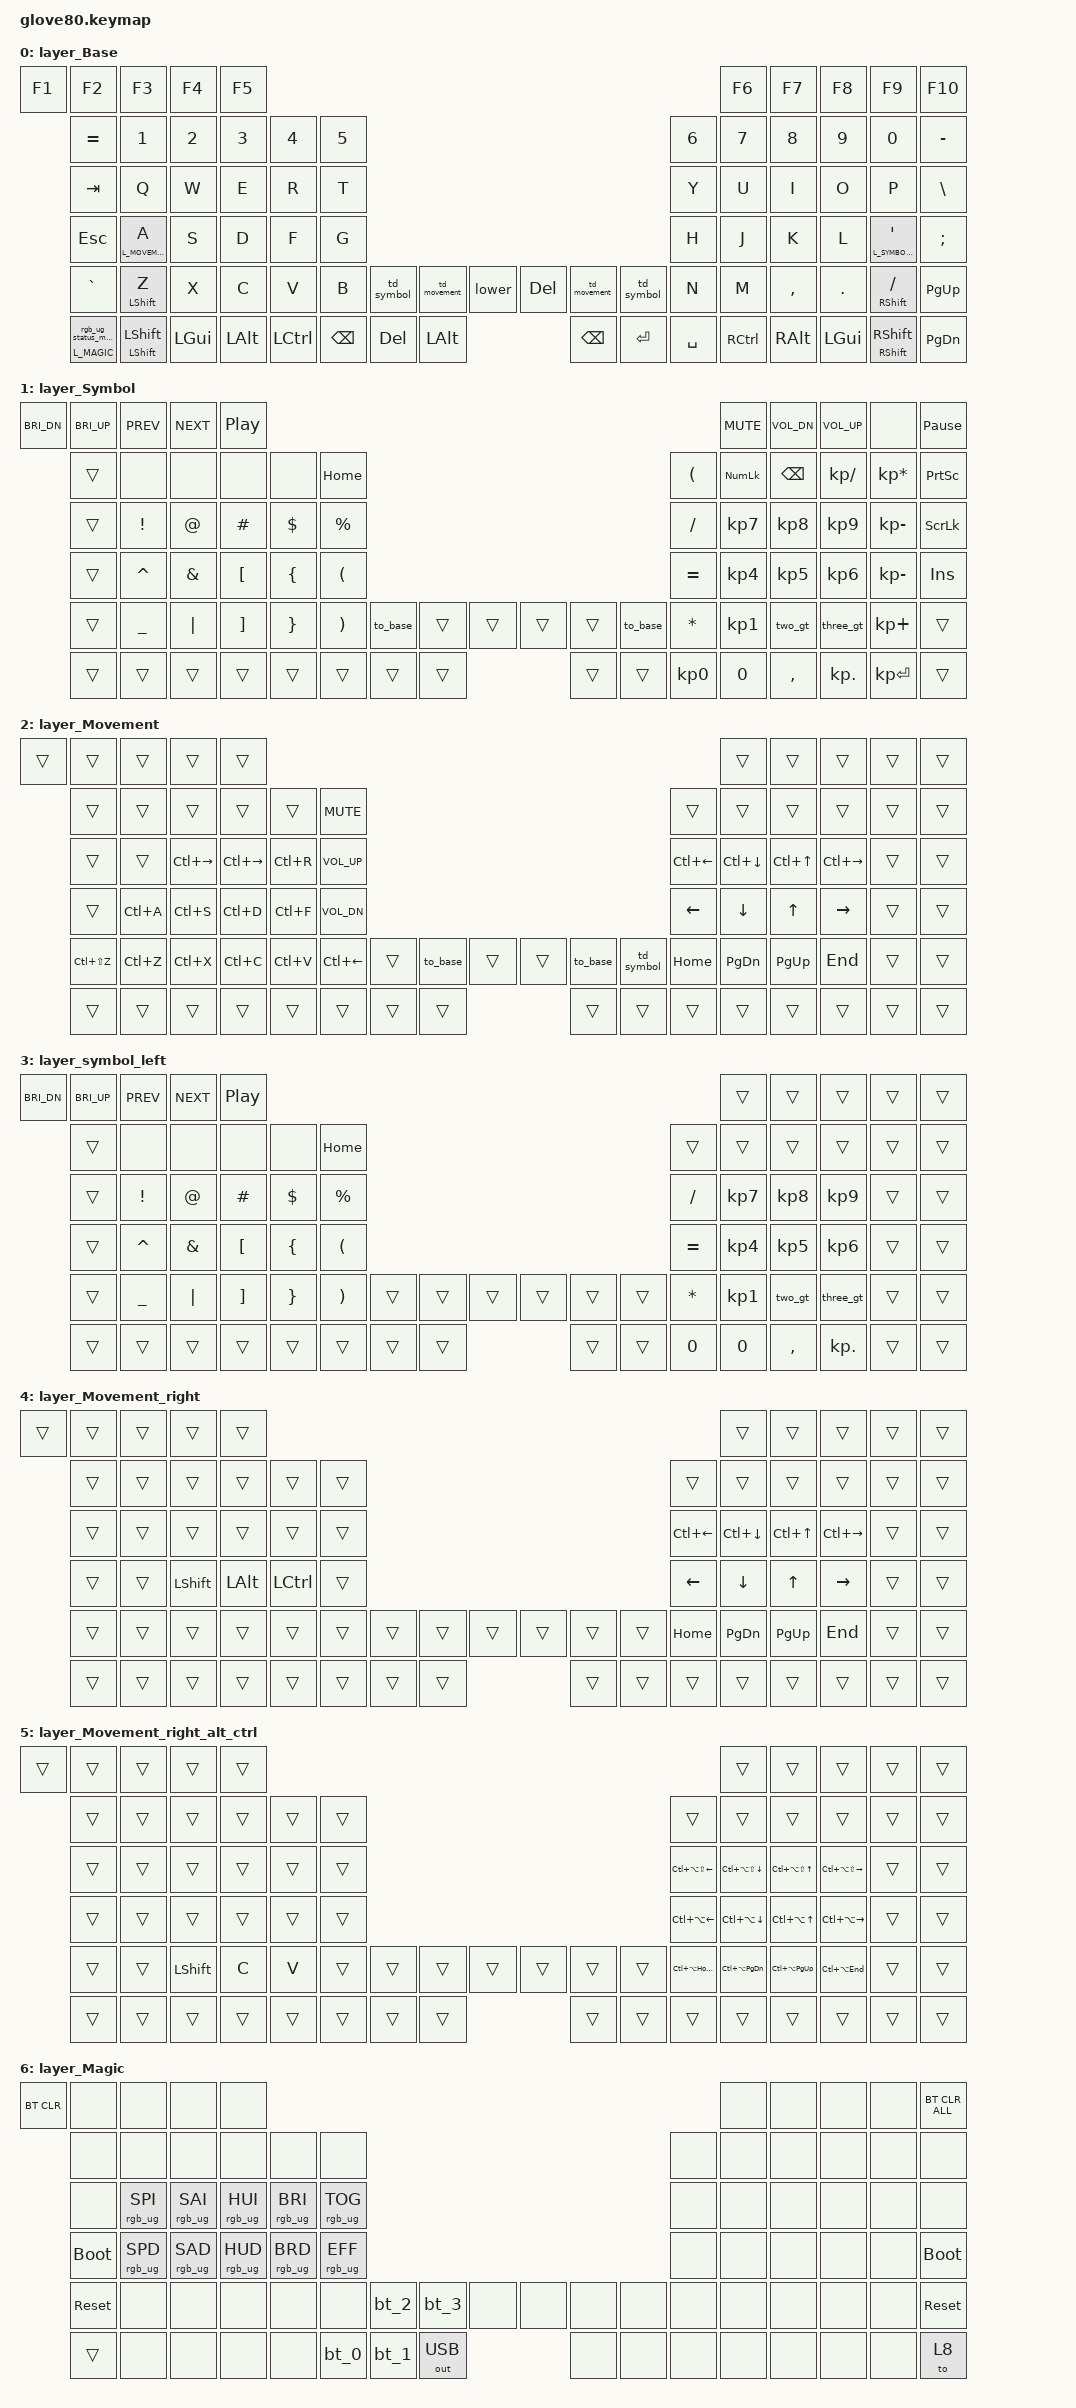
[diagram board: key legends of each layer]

/*
 * Copyright (c) 2020 The ZMK Contributors
 * Copyright (c) 2022 Innaworks Development Limited, trading as MoErgo
 *
 * SPDX-License-Identifier: MIT
 */


/* Include all behaviour includes needed by system behaviors/macros */
#include <behaviors.dtsi>
#include <dt-bindings/zmk/outputs.h>
#include <dt-bindings/zmk/keys.h>
#include <dt-bindings/zmk/bt.h>
#include <dt-bindings/zmk/rgb.h>

/ {
    /* Glove80 system behavior & macros */
    behaviors {
        // For the "layer" key, it'd nice to be able to use it as either a shift or a toggle.
        // Configure it as a tap dance, so the first tap (or hold) is a &mo and the second tap is a &to
        lower: tap_dance_0 {
            compatible = "zmk,behavior-tap-dance";
            #binding-cells = <0>;
            tapping-term-ms = <200>;
            bindings = <&mo 1>, <&to 1>;
        };
    };

    macros {
        rgb_ug_status_macro: rgb_ug_status_macro_0 {
            compatible = "zmk,behavior-macro";
            #binding-cells = <0>;
            bindings
                = <&rgb_ug RGB_STATUS>;
        };

        bt_0: bt_profile_macro_0 {
            compatible = "zmk,behavior-macro";
            #binding-cells = <0>;
            bindings
                = <&out OUT_BLE>,
                  <&bt BT_SEL 0>;
        };

        bt_1: bt_profile_macro_1 {
            compatible = "zmk,behavior-macro";
            #binding-cells = <0>;
            bindings
                = <&out OUT_BLE>,
                  <&bt BT_SEL 1>;
        };

        bt_2: bt_profile_macro_2 {
            compatible = "zmk,behavior-macro";
            #binding-cells = <0>;
            bindings
                = <&out OUT_BLE>,
                  <&bt BT_SEL 2>;
        };

        bt_3: bt_profile_macro_3 {
            compatible = "zmk,behavior-macro";
            #binding-cells = <0>;
            bindings
                = <&out OUT_BLE>,
                  <&bt BT_SEL 3>;
        };
    };
};

/ {
    magic: magic_hold_tap {
        compatible = "zmk,behavior-hold-tap";
        #binding-cells = <2>;
        flavor = "tap-preferred";
        tapping-term-ms = <200>;
        bindings = <&mo>, <&rgb_ug_status_macro>;
    };

};

/* Custom Defined Behaviors */
/ {
    /* lsyers */
    #define L_BASE 0
    #define L_SYMBOL 1
    #define L_MOVEMENT 2
    #define L_SYMBOL_LEFT 3
    #define L_MOVEMENT_RIGHT 4
    #define L_MOVEMENT_RIGHT_ALT_CTRL 5
    #define L_MAGIC 6


/*****************************************************************************/
                                /* Macros */
/*****************************************************************************/
    macros {
        // unstickies a sticky key and then holds it
        // parameter 1: key code
        unsk: unsticky_key {
            compatible = "zmk,behavior-macro-one-param";
            #binding-cells = <1>;
            wait-ms = <0>;
            tap-ms = <30>;
            bindings
                = <&macro_tap &kp K_CANCEL>
                , <&macro_press>
                , <&macro_param_1to1>
                , <&kp MACRO_PLACEHOLDER>
                , <&macro_pause_for_release>
                , <&macro_release>
                , <&macro_param_1to1>
                , <&kp MACRO_PLACEHOLDER>
                ;
        };
        left_arrow: left_arrow {
            compatible = "zmk,behavior-macro-one-param";
            #binding-cells = <1>;
            wait-ms = <0>;
            tap-ms = <30>;
            bindings
                = <&macro_tap &kp LESS_THAN>
                , <&macro_param_1to1>
                , <&macro_tap &kp MACRO_PLACEHOLDER>
                ;
        };
        right_arrow: right_arrow {
            compatible = "zmk,behavior-macro-one-param";
            #binding-cells = <1>;
            wait-ms = <0>;
            tap-ms = <30>;
            bindings
                = <&macro_param_1to1>
                , <&macro_tap &kp MACRO_PLACEHOLDER>
                , <&macro_tap &kp GREATER_THAN>
                ;
        };
        to_symbol: to_symbol {
            compatible = "zmk,behavior-macro";
            #binding-cells = <0>;
            wait-ms = <0>;
            tap-ms = <30>;
            bindings = <&macro_tap &to L_SYMBOL>;
        };
        to_movement: to_movement {
            compatible = "zmk,behavior-macro";
            #binding-cells = <0>;
            wait-ms = <0>;
            tap-ms = <30>;
            bindings = <&macro_tap &to L_MOVEMENT>;
        };
        to_base: to_base {
            compatible = "zmk,behavior-macro";
            #binding-cells = <0>;
            wait-ms = <0>;
            tap-ms = <30>;
            bindings = <&macro_tap &to L_BASE>;
        };

    };
/*****************************************************************************/
                                /* Behaviors */
/*****************************************************************************/
    // #define trick to convert plain word to string
    #define STRINGIFY(S) #S

    // generates a tap-dance behavior
    #define TAP_DANCE(NAME, TERM, BINDING0, BINDING2) \
    /omit-if-no-ref/ NAME: NAME { \
        compatible = "zmk,behavior-tap-dance"; \
        label = STRINGIFY(TD_##NAME); \
        #binding-cells = <0>; \
        tapping-term-ms = <TERM>; \
        bindings = <BINDING0>, <BINDING2>; \
    }

    behaviors {
        // activate other layers
        TAP_DANCE(td_symbol, 200, &mo L_SYMBOL, &to_symbol);
        TAP_DANCE(td_movement, 200, &mo L_MOVEMENT, &to_movement);

        /* Let Caps Word continue when typing underscores */
        behavior_caps_word {
            continue-list = <UNDERSCORE MINUS BACKSPACE DELETE>;
        };

        // custom sticky key behavior
        /omit-if-no-ref/ skp: sticky_keypress {
            compatible = "zmk,behavior-sticky-key";
            #binding-cells = <1>;
            release-after-ms = <1000>;
            quick-release;
            bindings = <&kp>;
        };

        shift: shift {
            compatible = "zmk,behavior-hold-tap";
            #binding-cells = <2>;
            flavor = "hold-preferred";
            tapping-term-ms = <200>;
            global-quick-tap;
            bindings = <&kp>, <&caps_word>;
        };

        // shifting Numberic Keypad "2" gives "<"
        two_gt: two_gt {
            compatible = "zmk,behavior-mod-morph";
            #binding-cells = <0>;
            bindings = <&kp KP_N2>, <&kp LESS_THAN>;
            mods = <(MOD_LSFT|MOD_RSFT)>;
        };

        // shifting Numberic Keypad "3" gives ">"
        three_gt: three_gt {
            compatible = "zmk,behavior-mod-morph";
            #binding-cells = <0>;
            bindings = <&kp KP_N3>, <&kp GREATER_THAN>;
            mods = <(MOD_LSFT|MOD_RSFT)>;
        };
    };

/*****************************************************************************/
                                /* Key Positions */
/*****************************************************************************/
/* Use these key positions for Hold Tap hold-trigger-key-positions and Combos
          .----.----.----.                                                  .----.----.----.
.----.----|  2 |  3 |  4 |                                                  |  5 |  6 |  7 |----.----.
|  0 |  1 |----+----+----+----.                                        .----+----+----+----|  8 |  9 |
|----|----| 12 | 13 | 14 | 15 |                                        | 16 | 17 | 18 | 19 |----|----|
| 10 | 11 |----+----+----+----|                                        |----+----+----+----| 20 | 21 |
|----|----| 24 | 25 | 26 | 27 |                                        | 28 | 29 | 30 | 31 |----|----|
| 22 | 23 |----+----+----+----|                                        |----+----+----+----| 32 | 33 |
|----|----| 36 | 37 | 38 | 39 |                                        | 40 | 41 | 42 | 43 |----|----|
| 34 | 35 |----+----+----+----|                                        |----+----+----+----| 44 | 45 |
|----|----| 48 | 49 | 50 | 51 |                                        | 58 | 59 | 60 | 61 |----|----|
| 46 | 47 |----+----+----+----'                                        '----+----+----+----| 62 | 63 |
|----|----| 66 | 67 | 68 |       .----.                        .----.       | 75 | 76 | 77 |----|----|
| 64 | 65 |----'----'----'  .----| 52 |----.              .----| 57 |----.  '----'----'----| 78 | 79 |
'----'----'                 | 69 |----| 53 |----.    .----| 56 |----| 74 |                 '----'----'
                            '----| 70 |----| 54 |    | 55 |----| 73 |----'
                                 '----| 71 |----'    '----| 72 |----'
                                      '----'              '----'
*/

/*****************************************************************************/
                                /* Combos */
/*****************************************************************************/
    combos {
        compatible = "zmk,combos";

        // <- on num layer
        combo_left_arrow {
            timeout-ms = <65>;
            key-positions = <60 44>;
            layers = <L_SYMBOL>;
            bindings = <&left_arrow KP_MINUS>;
        };

        // -> on num layer
        combo_right_arrow {
            timeout-ms = <65>;
            key-positions = <61 44>;
            layers = <L_SYMBOL>;
            bindings = <&right_arrow KP_MINUS>;
        }; 
        
        // <= on num layer
        combo_double_left_arrow {
            timeout-ms = <65>;
            key-positions = <60 40>;
            layers = <L_SYMBOL>;
            bindings = <&left_arrow EQUAL>;
        };

        // => on num layer
        combo_double_right_arrow {
            timeout-ms = <65>;
            key-positions = <61 40>;
            layers = <L_SYMBOL>;
            bindings = <&right_arrow EQUAL>;
        };
   
        // use chord DF as a modifier move to movement_right layer
        //combo_df_modal_movement {
        //    timeout-ms = <65>;
        //    key-positions = <37 38>;
        //    bindings = <&mo L_MOVEMENT_RIGHT>;
        //    layers = <L_BASE>;
        //};

        // use chord CV as a modifier move to movement_right layer
        //combo_cv_modal_movement {
        //    timeout-ms = <65>;
        //    key-positions = <49 50>;
        //    bindings = <&mo L_MOVEMENT_RIGHT_ALT_CTRL>;
        //    layers = <L_BASE>;
        //};

        // use chord JK as a modifier move to symbol_left layer
        //combo_jk_modal_movement {
        //    timeout-ms = <65>;
        //    key-positions = <41 42>;
        //    bindings = <&mo L_SYMBOL_LEFT>;
        //    layers = <L_BASE>;
        //};
   };

/*****************************************************************************/
                            /* Condiional Layers */
/*****************************************************************************/ 

/* Helper for defining conditional layers */
#define LAYER_CONDITION(NAME, IF, THEN) \
        NAME { \
            if-layers = <IF>; \
            then-layer = <THEN>; \
        };

    conditional_layers {
        compatible = "zmk,conditional-layers";
    };
 };

// ==== PER-KEY-RGB <section begins> ====
#include <dt-bindings/zmk/rgb_colors.h>
#define C_SHIFT ORANGE
#define C_SYM BLUE
#define C_MOV GREEN
#define ______ 0x000000
/ {
    underglow-layer {
        compatible  = "zmk,underglow-layer";
        base {
            bindings = <
                &ug ___                  &ug ___ &ug ___ &ug ___ &ug ___                                                                  &ug ___ &ug ___ &ug ___          &ug ___ &ug ___
                &ug ___                  &ug ___ &ug ___ &ug ___ &ug ___ &ug ___                                                  &ug ___ &ug ___ &ug ___ &ug ___          &ug ___ &ug ___
                &ug ___                  &ug ___ &ug ___ &ug ___ &ug ___ &ug ___                                                  &ug ___ &ug ___ &ug ___ &ug ___          &ug ___ &ug ___
                &ug ___                  &ug ___ &ug ___ &ug ___ &ug ___ &ug ___                                                  &ug ___ &ug ___ &ug ___ &ug ___          &ug ___ &ug ___
                &ug ___                  &ug ___ &ug ___ &ug ___ &ug ___ &ug ___ &ug ___ &ug ___ &ug ___  &ug ___ &ug ___ &ug ___ &ug ___ &ug ___ &ug ___ &ug ___          &ug ___ &ug ___
                &ug ___ &ug_cl ___ C_SHIFT &ug ___ &ug ___ &ug ___         &ug ___ &ug ___ &ug ___  &ug ___ &ug ___ &ug ___         &ug ___ &ug ___ &ug ___ &ug_cl ___ C_SHIFT &ug ___
                >;
            layer-id = <0>;
        };
        symbol {
            bindings = <
                &ug ___ &ug ___ &ug ___ &ug ___ &ug C_SYM                                                                      &ug C_SYM        &ug ___ &ug ___ &ug ___ &ug ___
                &ug ___ &ug ___ &ug ___ &ug ___ &ug ___   &ug ___                                                      &ug ___ &ug_nl ___ C_SYM &ug ___ &ug ___ &ug ___ &ug ___
                &ug ___ &ug ___ &ug ___ &ug ___ &ug ___   &ug ___                                                      &ug ___ &ug ___          &ug ___ &ug ___ &ug ___ &ug ___
                &ug ___ &ug ___ &ug ___ &ug ___ &ug ___   &ug ___                                                      &ug ___ &ug ___          &ug ___ &ug ___ &ug ___ &ug ___
                &ug ___ &ug ___ &ug ___ &ug ___ &ug ___   &ug ___ &ug C_SYM &ug ___ &ug ___  &ug ___ &ug ___ &ug C_SYM &ug ___ &ug ___          &ug ___ &ug ___ &ug ___ &ug ___
                &ug ___ &ug ___ &ug ___ &ug ___ &ug ___           &ug ___   &ug ___ &ug ___  &ug ___ &ug ___ &ug ___           &ug ___          &ug ___ &ug ___ &ug ___ &ug ___
                >;
            layer-id = <L_SYMBOL>;
        };
        movement {
            bindings = <
                &ug ___ &ug ___ &ug ___ &ug ___ &ug C_MOV                                                                      &ug C_MOV &ug ___ &ug ___ &ug ___ &ug ___
                &ug ___ &ug ___ &ug ___ &ug ___ &ug ___   &ug ___                                                      &ug ___ &ug ___   &ug ___ &ug ___ &ug ___ &ug ___
                &ug ___ &ug ___ &ug ___ &ug ___ &ug ___   &ug ___                                                      &ug ___ &ug ___   &ug ___ &ug ___ &ug ___ &ug ___
                &ug ___ &ug ___ &ug ___ &ug ___ &ug ___   &ug ___                                                      &ug ___ &ug ___   &ug ___ &ug ___ &ug ___ &ug ___
                &ug ___ &ug ___ &ug ___ &ug ___ &ug ___   &ug ___ &ug ___ &ug C_MOV &ug ___  &ug ___ &ug C_MOV &ug ___ &ug ___ &ug ___   &ug ___ &ug ___ &ug ___ &ug ___
                &ug ___ &ug ___ &ug ___ &ug ___ &ug ___           &ug ___ &ug ___   &ug ___  &ug ___ &ug ___   &ug ___         &ug ___   &ug ___ &ug ___ &ug ___ &ug ___
                >;
            layer-id = <L_MOVEMENT>;
        };
        symbol_left {
            bindings = <
                &ug ___ &ug ___ &ug ___ &ug ___ &ug C_SYM                                                                      &ug ___   &ug ___ &ug ___ &ug ___ &ug ___
                &ug ___ &ug ___ &ug ___ &ug ___ &ug ___   &ug ___                                                      &ug ___ &ug ___   &ug ___ &ug ___ &ug ___ &ug ___
                &ug ___ &ug ___ &ug ___ &ug ___ &ug ___   &ug ___                                                      &ug ___ &ug ___   &ug ___ &ug ___ &ug ___ &ug ___
                &ug ___ &ug ___ &ug ___ &ug ___ &ug ___   &ug ___                                                      &ug ___ &ug ___   &ug ___ &ug ___ &ug ___ &ug ___
                &ug ___ &ug ___ &ug ___ &ug ___ &ug ___   &ug ___ &ug C_SYM &ug ___ &ug ___  &ug ___ &ug ___ &ug ___   &ug ___ &ug ___   &ug ___ &ug ___ &ug ___ &ug ___
                &ug ___ &ug ___ &ug ___ &ug ___ &ug ___           &ug ___   &ug ___ &ug ___  &ug ___ &ug ___ &ug ___           &ug ___   &ug ___ &ug ___ &ug ___ &ug ___
                >;
            layer-id = <L_SYMBOL_LEFT>;
        };
        movement_right {
            bindings = <
                &ug ___ &ug ___ &ug ___ &ug ___ &ug ___                                                                        &ug C_MOV &ug ___ &ug ___ &ug ___ &ug ___
                &ug ___ &ug ___ &ug ___ &ug ___ &ug ___   &ug ___                                                      &ug ___ &ug ___   &ug ___ &ug ___ &ug ___ &ug ___
                &ug ___ &ug ___ &ug ___ &ug ___ &ug ___   &ug ___                                                      &ug ___ &ug ___   &ug ___ &ug ___ &ug ___ &ug ___
                &ug ___ &ug ___ &ug ___ &ug ___ &ug ___   &ug ___                                                      &ug ___ &ug ___   &ug ___ &ug ___ &ug ___ &ug ___
                &ug ___ &ug ___ &ug ___ &ug ___ &ug ___   &ug ___ &ug ___   &ug ___ &ug ___  &ug ___ &ug ___ &ug C_MOV &ug ___ &ug ___   &ug ___ &ug ___ &ug ___ &ug ___
                &ug ___ &ug ___ &ug ___ &ug ___ &ug ___           &ug ___   &ug ___ &ug ___  &ug ___ &ug ___ &ug ___           &ug ___   &ug ___ &ug ___ &ug ___ &ug ___
                >;
            layer-id = <L_MOVEMENT_RIGHT>;
        };
        // add more RGB layer here
    };
};
// ==== PER-KEY-RGB <section ends> =====


/ {
    /* Automatically generated keymap */
    keymap {
        compatible = "zmk,keymap";

        layer_Base {
            bindings = <
           &kp F1                 &kp F2    &kp F3    &kp F4     &kp F5                                                                                               &kp F6     &kp F7    &kp F8                  &kp F9    &kp F10
        &kp EQUAL                 &kp N1    &kp N2    &kp N3     &kp N4  &kp N5                                                                            &kp N6     &kp N7     &kp N8    &kp N9                  &kp N0  &kp MINUS
          &kp TAB                  &kp Q     &kp W     &kp E      &kp R   &kp T                                                                             &kp Y      &kp U      &kp I     &kp O                   &kp P   &kp BSLH
          &kp ESC &lt L_MOVEMENT_RIGHT A     &kp S     &kp D      &kp F   &kp G                                                                             &kp H      &kp J      &kp K     &kp L   &lt L_SYMBOL_LEFT SQT   &kp SEMI
        &kp GRAVE           &mt LSHIFT Z     &kp X     &kp C      &kp V   &kp B    &td_symbol  &td_movement    &lower   &kp DEL  &td_movement  &td_symbol   &kp N      &kp M  &kp COMMA   &kp DOT         &mt RSHIFT FSLH  &kp PG_UP
 &magic L_MAGIC 0   &shift LSHIFT LSHIFT  &kp LGUI  &kp LALT  &kp LCTRL            &kp BSPC         &kp DEL  &kp LALT  &kp BSPC       &kp RET   &kp SPACE          &kp RCTRL   &kp RALT  &kp LGUI    &shift RSHIFT RSHIFT  &kp PG_DN
            >;
        };

        layer_Symbol {
            bindings = <
 &kp C_BRI_DN  &kp C_BRI_UP  &kp C_PREV  &kp C_NEXT  &kp C_PP                                                                                        &kp C_MUTE  &kp C_VOL_DN  &kp C_VOL_UP            &none  &kp PAUSE_BREAK
       &trans         &none       &none       &none     &none   &kp HOME                                                       &kp LEFT_PARENTHESIS  &kp KP_NUM      &kp BSPC  &kp KP_SLASH  &kp KP_MULTIPLY  &kp PRINTSCREEN
       &trans      &kp EXCL      &kp AT    &kp HASH  &kp DLLR  &kp PRCNT                                                                   &kp FSLH   &kp KP_N7     &kp KP_N8     &kp KP_N9     &kp KP_MINUS   &kp SCROLLLOCK
       &trans     &kp CARET    &kp AMPS    &kp LBKT  &kp LBRC   &kp LPAR                                                                  &kp EQUAL   &kp KP_N4     &kp KP_N5     &kp KP_N6     &kp KP_MINUS          &kp INS
       &trans     &kp UNDER    &kp PIPE    &kp RBKT  &kp RBRC   &kp RPAR  &to_base  &trans  &trans  &trans  &trans   &to_base              &kp STAR   &kp KP_N1       &two_gt     &three_gt      &kp KP_PLUS           &trans
       &trans        &trans      &trans      &trans    &trans             &trans    &trans  &trans  &trans  &trans  &kp KP_N0                            &kp N0     &kp COMMA    &kp KP_DOT     &kp KP_ENTER           &trans
            >;
        };

        layer_Movement {
            bindings = <
        &trans     &trans         &trans         &trans     &trans                                                                                             &trans      &trans         &trans  &trans  &trans
        &trans     &trans         &trans         &trans     &trans    &kp C_MUTE                                                                 &trans        &trans      &trans         &trans  &trans  &trans
        &trans     &trans  &kp LC(RIGHT)  &kp LC(RIGHT)  &kp LC(R)  &kp C_VOL_UP                                                           &kp LC(LEFT)  &kp LC(DOWN)  &kp LC(UP)  &kp LC(RIGHT)  &trans  &trans
        &trans  &kp LC(A)      &kp LC(S)      &kp LC(D)  &kp LC(F)  &kp C_VOL_DN                                                               &kp LEFT      &kp DOWN      &kp UP      &kp RIGHT  &trans  &trans
 &kp LC(LS(Z))  &kp LC(Z)      &kp LC(X)      &kp LC(C)  &kp LC(V)  &kp LC(LEFT)   &trans  &to_base  &trans  &trans  &to_base  &td_symbol      &kp HOME     &kp PG_DN   &kp PG_UP        &kp END  &trans  &trans
        &trans     &trans         &trans         &trans     &trans                 &trans    &trans  &trans  &trans    &trans      &trans                      &trans      &trans         &trans  &trans  &trans
            >;
        };

        layer_symbol_left {
            bindings = <
 &kp C_BRI_DN  &kp C_BRI_UP  &kp C_PREV  &kp C_NEXT  &kp C_PP                                                                      &trans    &trans        &trans     &trans  &trans
       &trans         &none       &none       &none     &none   &kp HOME                                                 &trans    &trans    &trans        &trans     &trans  &trans
       &trans      &kp EXCL      &kp AT    &kp HASH  &kp DLLR  &kp PRCNT                                                 &kp FSLH  &kp KP_N7 &kp KP_N8     &kp KP_N9  &trans  &trans
       &trans     &kp CARET    &kp AMPS    &kp LBKT  &kp LBRC   &kp LPAR                                                 &kp EQUAL &kp KP_N4 &kp KP_N5     &kp KP_N6  &trans  &trans
       &trans     &kp UNDER    &kp PIPE    &kp RBKT  &kp RBRC   &kp RPAR  &trans  &trans  &trans &trans  &trans  &trans  &kp STAR  &kp KP_N1   &two_gt     &three_gt  &trans  &trans
       &trans        &trans      &trans      &trans    &trans             &trans  &trans  &trans &trans  &trans  &kp N0            &kp N0    &kp COMMA     &kp KP_DOT &trans  &trans
            >;
        };

        layer_Movement_right {
            bindings = <
       &trans  &trans          &trans    &trans     &trans                                                                                 &trans      &trans         &trans  &trans  &trans
       &trans  &trans          &trans    &trans     &trans  &trans                                                           &trans        &trans      &trans         &trans  &trans  &trans
       &trans  &trans          &trans    &trans     &trans  &trans                                                     &kp LC(LEFT)  &kp LC(DOWN)  &kp LC(UP)  &kp LC(RIGHT)  &trans  &trans
       &trans  &trans  &kp LEFT_SHIFT  &kp LALT  &kp LCTRL  &trans                                                         &kp LEFT      &kp DOWN      &kp UP      &kp RIGHT  &trans  &trans
       &trans  &trans          &trans    &trans     &trans  &trans   &trans  &trans  &trans  &trans  &trans  &trans        &kp HOME     &kp PG_DN   &kp PG_UP        &kp END  &trans  &trans
       &trans  &trans          &trans    &trans     &trans           &trans  &trans  &trans  &trans  &trans  &trans                        &trans      &trans         &trans  &trans  &trans
            >;
        };

        layer_Movement_right_alt_ctrl {
            bindings = <
       &trans  &trans          &trans  &trans  &trans                                                                                 &trans      &trans         &trans  &trans  &trans
       &trans  &trans          &trans  &trans  &trans  &trans                                                           &trans        &trans      &trans         &trans  &trans  &trans
       &trans  &trans          &trans  &trans  &trans  &trans                                                     &kp LC(LA(LS(LEFT)))  &kp LC(LA(LS(DOWN)))  &kp LC(LA(LS(UP)))  &kp LC(LA(LS(RIGHT)))  &trans  &trans
       &trans  &trans          &trans  &trans  &trans  &trans                                                         &kp LC(LA(LEFT))      &kp LC(LA(DOWN))      &kp LC(LA(UP))      &kp LC(LA(RIGHT))  &trans  &trans
       &trans  &trans  &kp LEFT_SHIFT   &kp C   &kp V  &trans   &trans  &trans  &trans  &trans  &trans  &trans        &kp LC(LA(HOME))     &kp LC(LA(PG_DN))   &kp LC(LA(PG_UP))        &kp LC(LA(END))  &trans  &trans
       &trans  &trans          &trans  &trans  &trans           &trans  &trans  &trans  &trans  &trans  &trans                        &trans      &trans         &trans  &trans  &trans
            >;
        };

        layer_Magic {
            bindings = <
  &bt BT_CLR            &none            &none            &none            &none                                                                                  &none   &none   &none   &none  &bt BT_CLR_ALL
       &none            &none            &none            &none            &none            &none                                                         &none   &none   &none   &none   &none           &none
       &none  &rgb_ug RGB_SPI  &rgb_ug RGB_SAI  &rgb_ug RGB_HUI  &rgb_ug RGB_BRI  &rgb_ug RGB_TOG                                                         &none   &none   &none   &none   &none           &none
 &bootloader  &rgb_ug RGB_SPD  &rgb_ug RGB_SAD  &rgb_ug RGB_HUD  &rgb_ug RGB_BRD  &rgb_ug RGB_EFF                                                         &none   &none   &none   &none   &none     &bootloader
  &sys_reset            &none            &none            &none            &none            &none   &bt_2   &bt_3         &none   &none   &none   &none   &none   &none   &none   &none   &none      &sys_reset
      &trans            &none            &none            &none            &none                    &bt_0   &bt_1  &out OUT_USB   &none   &none   &none           &none   &none   &none   &none           &to 8
            >;
        };

    };
};
